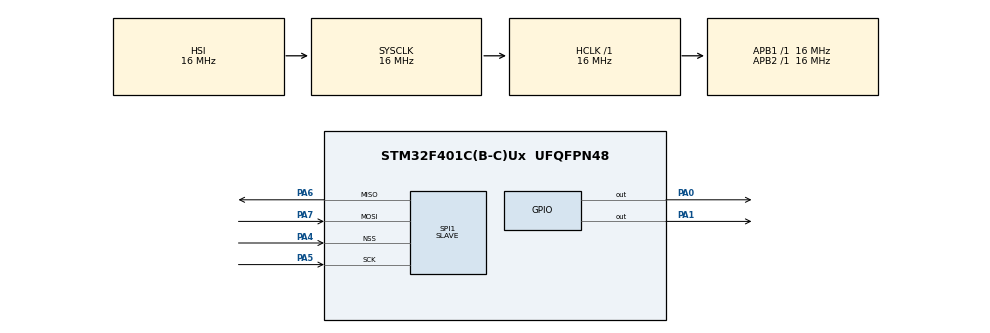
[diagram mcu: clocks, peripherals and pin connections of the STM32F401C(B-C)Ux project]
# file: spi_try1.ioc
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Mcu.Family=STM32F4
Mcu.Name=STM32F401C(B-C)Ux
Mcu.Package=UFQFPN48
NVIC.PriorityGroup=NVIC_PRIORITYGROUP_4
PA0-WKUP.Signal=GPIO_Output
PA1.Signal=GPIO_Output
PA4.Mode=NSS_Signal_Hard_Input
PA4.Signal=SPI1_NSS
PA5.Mode=Full_Duplex_Slave
PA5.Signal=SPI1_SCK
PA6.Mode=Full_Duplex_Slave
PA6.Signal=SPI1_MISO
PA7.Mode=Full_Duplex_Slave
PA7.Signal=SPI1_MOSI
ProjectManager.HeapSize=0x200
ProjectManager.StackSize=0x400
ProjectManager.TargetToolchain=STM32CubeIDE
RCC.AHBFreq_Value=16000000
RCC.APB1Freq_Value=16000000
RCC.APB2Freq_Value=16000000
RCC.CortexFreq_Value=16000000
RCC.HSE_VALUE=25000000
RCC.HSI_VALUE=16000000
RCC.LSE_VALUE=32768
RCC.SYSCLKFreq_VALUE=16000000
RCC.VCOOutputFreq_Value=192000000
SPI1.CLKPhase=SPI_PHASE_1EDGE
SPI1.Direction=SPI_DIRECTION_2LINES
SPI1.Mode=SPI_MODE_SLAVE
SPI1.VirtualNSS=VM_NSSHARD
SPI1.VirtualType=VM_SLAVE
board=custom

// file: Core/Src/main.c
/* USER CODE BEGIN Header */
/**
 ******************************************************************************
 * @file           : main.c
 * @brief          : Main program body
 ******************************************************************************
 * @attention
 *
 * Copyright (c) 2023 STMicroelectronics.
 * All rights reserved.
 *
 * This software is licensed under terms that can be found in the LICENSE file
 * in the root directory of this software component.
 * If no LICENSE file comes with this software, it is provided AS-IS.
 *
 ******************************************************************************
 */
/* USER CODE END Header */
#include "main.h"

SPI_HandleTypeDef hspi1;

/* USER CODE BEGIN PV */
uint8_t spi_data = 0;

/* USER CODE END PV */

void SystemClock_Config(void);
static void MX_GPIO_Init(void);
static void MX_SPI1_Init(void);

int main(void)
{

	/* MCU Configuration--------------------------------------------------------*/

	/* Reset of all peripherals, Initializes the Flash interface and the Systick. */
	HAL_Init();

	/* Configure the system clock */
	SystemClock_Config();

	/* Initialize all configured peripherals */
	MX_GPIO_Init();
	MX_SPI1_Init();

	/* Infinite loop */
	while (1)
	{

		/* USER CODE BEGIN 3 */
		HAL_SPI_Receive(&hspi1, &spi_data, 1, 20);
		/*
		if (spi_data == 5) {
			HAL_GPIO_WritePin(GPIOA, GPIO_PIN_0, GPIO_PIN_SET);
			HAL_GPIO_WritePin(GPIOA, GPIO_PIN_1, GPIO_PIN_SET);
		}
		else if (spi_data == 6) {
			HAL_GPIO_WritePin(GPIOA, GPIO_PIN_0, GPIO_PIN_RESET);
			HAL_GPIO_WritePin(GPIOA, GPIO_PIN_1, GPIO_PIN_RESET);
		}
		else if (spi_data == 4){
			HAL_GPIO_WritePin(GPIOA, GPIO_PIN_0, GPIO_PIN_SET);
		}
		else if (spi_data == 1) {
			HAL_GPIO_WritePin(GPIOA, GPIO_PIN_0, GPIO_PIN_RESET);
		}
		else if (spi_data == 2) {
			HAL_GPIO_WritePin(GPIOA, GPIO_PIN_1, GPIO_PIN_SET);
		}
		else if (spi_data == 3) {
			HAL_GPIO_WritePin(GPIOA, GPIO_PIN_1, GPIO_PIN_RESET);
		}*/

		switch (spi_data){
				case OPEN_SYSTEM:
					HAL_GPIO_WritePin(AC_PORT, AC_PIN, ACTIVE_AC);
					HAL_GPIO_WritePin(MOTOR_PORT, MOTOR_PIN, ACTIVE_MOTOR);
					break;
				case CLOSE_SYSTEM:
					HAL_GPIO_WritePin(AC_PORT, AC_PIN, DISABLE_AC);
					HAL_GPIO_WritePin(MOTOR_PORT, MOTOR_PIN, DISABLE_MOTOR);
					break;
				case OPEN_AC:
					HAL_GPIO_WritePin(AC_PORT, AC_PIN, ACTIVE_AC);
					break;
				case CLOSE_AC:
					HAL_GPIO_WritePin(AC_PORT, AC_PIN, DISABLE_AC);
					break;
				case OPEN_MOTOR:
					HAL_GPIO_WritePin(MOTOR_PORT, MOTOR_PIN, ACTIVE_MOTOR);
					break;
				case CLOSE_MOTOR:
					HAL_GPIO_WritePin(MOTOR_PORT, MOTOR_PIN, DISABLE_MOTOR);
					break;
				}

	}
	/* USER CODE END 3 */
}

void SystemClock_Config(void)
{
	RCC_OscInitTypeDef RCC_OscInitStruct = {0};
	RCC_ClkInitTypeDef RCC_ClkInitStruct = {0};

	/** Configure the main internal regulator output voltage
	 */
	__HAL_RCC_PWR_CLK_ENABLE();
	__HAL_PWR_VOLTAGESCALING_CONFIG(PWR_REGULATOR_VOLTAGE_SCALE2);

	/** Initializes the RCC Oscillators according to the specified parameters
	 * in the RCC_OscInitTypeDef structure.
	 */
	RCC_OscInitStruct.OscillatorType = RCC_OSCILLATORTYPE_HSI;
	RCC_OscInitStruct.HSIState = RCC_HSI_ON;
	RCC_OscInitStruct.HSICalibrationValue = RCC_HSICALIBRATION_DEFAULT;
	RCC_OscInitStruct.PLL.PLLState = RCC_PLL_NONE;
	if (HAL_RCC_OscConfig(&RCC_OscInitStruct) != HAL_OK)
	{
		Error_Handler();
	}

	/** Initializes the CPU, AHB and APB buses clocks
	 */
	RCC_ClkInitStruct.ClockType = RCC_CLOCKTYPE_HCLK|RCC_CLOCKTYPE_SYSCLK
			|RCC_CLOCKTYPE_PCLK1|RCC_CLOCKTYPE_PCLK2;
	RCC_ClkInitStruct.SYSCLKSource = RCC_SYSCLKSOURCE_HSI;
	RCC_ClkInitStruct.AHBCLKDivider = RCC_SYSCLK_DIV1;
	RCC_ClkInitStruct.APB1CLKDivider = RCC_HCLK_DIV1;
	RCC_ClkInitStruct.APB2CLKDivider = RCC_HCLK_DIV1;

	if (HAL_RCC_ClockConfig(&RCC_ClkInitStruct, FLASH_LATENCY_0) != HAL_OK)
	{
		Error_Handler();
	}
}

static void MX_SPI1_Init(void)
{

	/* SPI1 parameter configuration*/
	hspi1.Instance = SPI1;
	hspi1.Init.Mode = SPI_MODE_SLAVE;
	hspi1.Init.Direction = SPI_DIRECTION_2LINES;
	hspi1.Init.DataSize = SPI_DATASIZE_8BIT;
	hspi1.Init.CLKPolarity = SPI_POLARITY_LOW;
	hspi1.Init.CLKPhase = SPI_PHASE_1EDGE;
	hspi1.Init.NSS = SPI_NSS_HARD_INPUT;
	hspi1.Init.FirstBit = SPI_FIRSTBIT_MSB;
	hspi1.Init.TIMode = SPI_TIMODE_DISABLE;
	hspi1.Init.CRCCalculation = SPI_CRCCALCULATION_DISABLE;
	hspi1.Init.CRCPolynomial = 10;
	if (HAL_SPI_Init(&hspi1) != HAL_OK)
	{
		Error_Handler();
	}

}

static void MX_GPIO_Init(void)
{
	GPIO_InitTypeDef GPIO_InitStruct = {0};

	/* GPIO Ports Clock Enable */
	__HAL_RCC_GPIOA_CLK_ENABLE();

	/*Configure GPIO pin Output Level */
	HAL_GPIO_WritePin(GPIOA, GPIO_PIN_0|GPIO_PIN_1, GPIO_PIN_RESET);

	/*Configure GPIO pins : PA0 PA1 */
	GPIO_InitStruct.Pin = GPIO_PIN_0|GPIO_PIN_1;
	GPIO_InitStruct.Mode = GPIO_MODE_OUTPUT_PP;
	GPIO_InitStruct.Pull = GPIO_NOPULL;
	GPIO_InitStruct.Speed = GPIO_SPEED_FREQ_LOW;
	HAL_GPIO_Init(GPIOA, &GPIO_InitStruct);

}

void Error_Handler(void)
{
	__disable_irq();
	while (1)
	{
	}
}
